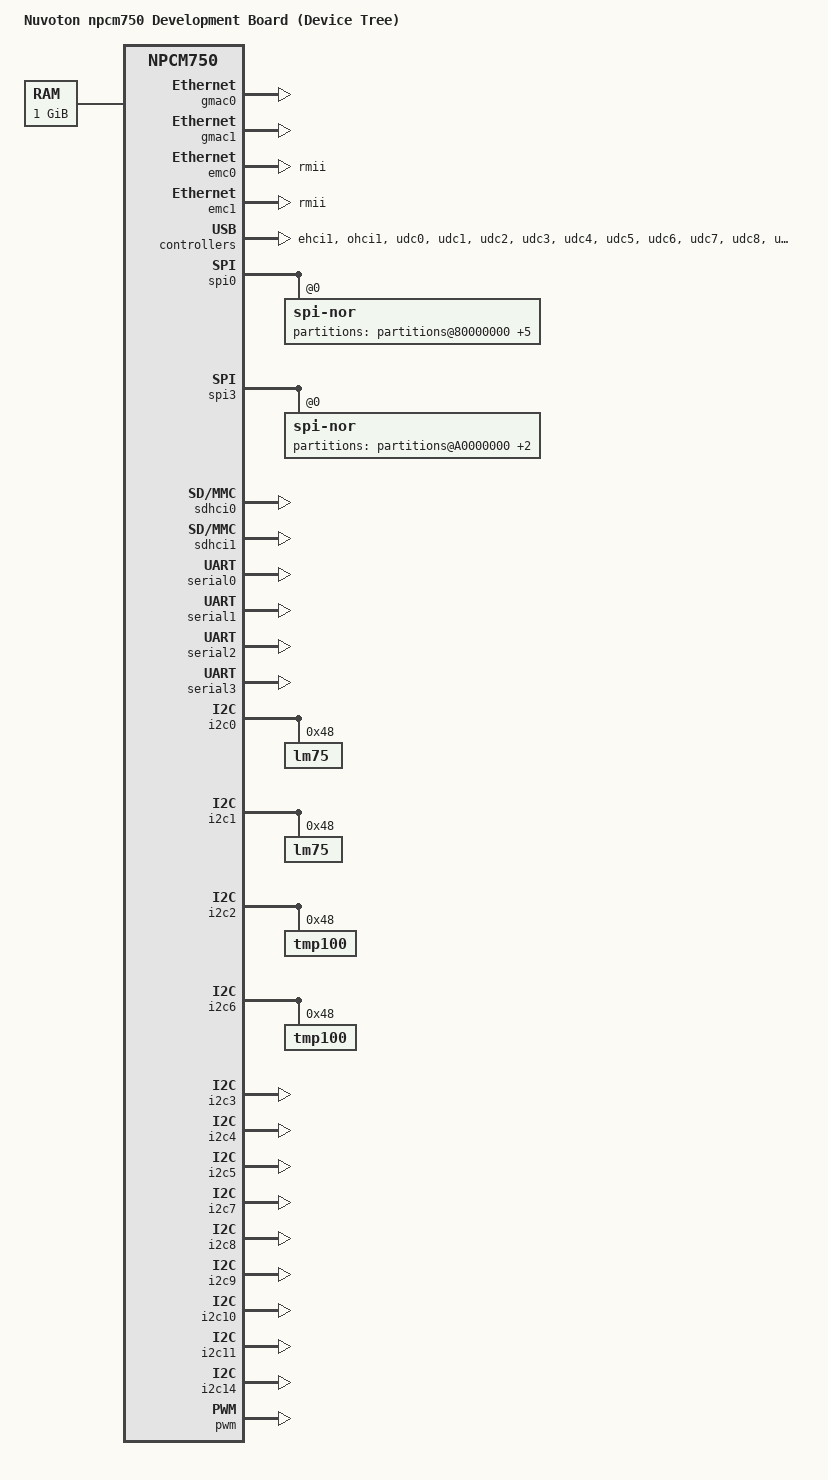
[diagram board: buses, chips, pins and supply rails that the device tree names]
/*
 * DTS file for all NPCM750 SoCs
 *
 * Copyright (c) 2014-2017 Nuvoton Technology corporation.
 *
 * Released under the GPLv2 only.
 * SPDX-License-Identifier: GPL-2.0
 *
 * http://www.opensource.org/licenses/gpl-license.html
 * http://www.gnu.org/copyleft/gpl.html
 */

/dts-v1/;
#include "nuvoton-npcm750.dtsi"
#include "nuvoton-npcm750-gpio.dtsi"

/ {
	model = "Nuvoton npcm750 Development Board (Device Tree)";
	compatible = "nuvoton,npcm750";

	aliases {
		ethernet0 = &emc0;
		ethernet1 = &emc1;
		ethernet2 = &gmac0;
		ethernet3 = &gmac1;
		serial0 = &serial0;
		serial1 = &serial1;
		serial2 = &serial2;
		serial3 = &serial3;
		udc0 = &udc0;
		udc1 = &udc1;
		udc2 = &udc2;
		udc3 = &udc3;
		udc4 = &udc4;
		udc5 = &udc5;
		udc6 = &udc6;
		udc7 = &udc7;
		udc8 = &udc8;
		udc9 = &udc9;
		emmc0 = &sdhci0;
		emmc1 = &sdhci1;
		i2c0 = &i2c0;
		i2c1 = &i2c1;
		i2c2 = &i2c2;
		i2c3 = &i2c3;
		i2c4 = &i2c4;
		i2c5 = &i2c5;
		i2c6 = &i2c6;
		i2c7 = &i2c7;
		i2c8 = &i2c8;
		i2c9 = &i2c9;
		i2c10 = &i2c10;
		i2c11 = &i2c11;
		i2c12 = &i2c12;
		i2c13 = &i2c13;
		i2c14 = &i2c14;
		i2c15 = &i2c15;
	};

	chosen {
		stdout-path = &serial3;
	};

	memory {
		reg = <0 0x40000000>;
	};

	ahb {
	        gmac0: eth@f0802000 {
			status = "okay";
		};

		gmac1: eth@f0804000 {
			status = "okay";
		};

		emc0: eth@f0825000 {
			phy-mode = "rmii";
			#use-ncsi; /* add this to support ncsi */
			status = "okay";
		};

		emc1: eth@f0826000 {
			phy-mode = "rmii";
			#use-ncsi; /* add this to support ncsi */
			status = "okay";
		};

		ehci1: ehci@f0806000 {
			status = "okay";
		};

		ohci1: ohci@f0807000 {
			status = "okay";
		};

		udc0:udc@f0830000 {
			status = "okay";
		};

		udc1:udc@f0831000 {
			status = "okay";
		};

		udc2:udc@f0832000 {
			status = "okay";
		};

		udc3:udc@f0833000 {
			status = "okay";
		};

		udc4:udc@f0834000 {
			status = "okay";
		};

		udc5:udc@f0835000 {
			status = "okay";
		};

		udc6:udc@f0836000 {
			status = "okay";
		};

		udc7:udc@f0837000 {
			status = "okay";
		};

		udc8:udc@f0838000 {
			status = "okay";
		};

		udc9:udc@f0839000 {
			status = "okay";
		};

		aes:aes@f0858000 {
			status = "okay";
		};

		sha:sha@f085a000 {
			status = "okay";
		};

		spi0: spi@fb000000 {
			spi-nor@0 {
				partitions@80000000 {
					compatible = "fixed-partitions";
					#address-cells = <1>;
					#size-cells = <1>;
					bbuboot1@0 {
						label = "bb-uboot-1";
						reg = <0x0000000 0x80000>;
						read-only;
						};
					bbuboot2@80000 {
						label = "bb-uboot-2";
						reg = <0x00080000 0x80000>;
						read-only;
						};
					kernel@200000 {
						label = "kernel";
						reg = <0x00200000 0x580000>;
						};
					rofs@780000 {
						label = "rofs";
						reg = <0x00780000 0x1600000>;
						};
					rwfs@1d80000 {
						label = "rwfs";
						reg = <0x01d80000 0x100000>;
					};
				};
			};
		};

		spi3: spi@c0000000 {
				spi-nor@0 {
				partitions@A0000000 {
					compatible = "fixed-partitions";
					#address-cells = <1>;
					#size-cells = <1>;
					system1@0 {
						label = "spi3-system1";
						reg = <0x0 0x800000>;
					};
					system2@800000 {
						label = "spi3-system2";
						reg = <0x800000 0x0>;
					};
				};
			};
		};

		sdhci0: sdhci@f0840000 {
			status = "okay";
		};

		sdhci1: sdhci@f0842000 {
			status = "okay";
		};

	};

	apb {

		watchdog1: watchdog@f0009000 {
			status = "okay";
		};

		rng: rng@f000b000 {
			status = "okay";
		};

		serial0: serial0@f0001000 {
			status = "okay";
		};

		serial1: serial1@f0002000 {
			status = "okay";
		};

		serial2: serial2@f0003000 {
			status = "okay";
		};

		serial3: serial3@f0004000 {
			status = "okay";
		};

		otp:otp@f0189000 {
			status = "okay";
		};

		lpc_kcs: lpc_kcs@f0007000 {
			kcs1: kcs1@0 {
				status = "okay";
			};

			kcs2: kcs2@0 {
				status = "okay";
			};

			kcs3: kcs3@0 {
				status = "okay";
			};
		};

		/* lm75 on SVB */
		i2c0: i2c-bus@f0080000 {
			#address-cells = <1>;
			#size-cells = <0>;
			status = "okay";

			lm75@48 {
				compatible = "lm75";
				reg = <0x48>;
				status = "okay";
			};
		};

		/* lm75 on EB */
		i2c1: i2c-bus@f0081000 {
			#address-cells = <1>;
			#size-cells = <0>;
			status = "okay";

			lm75@48 {
				compatible = "lm75";
				reg = <0x48>;
				status = "okay";
			};
		};

		/* tmp100 on EB */
		i2c2: i2c-bus@f0082000 {
			#address-cells = <1>;
			#size-cells = <0>;
			status = "okay";

			tmp100@48 {
				compatible = "tmp100";
				reg = <0x48>;
				status = "okay";
			};
		};

		/* tmp100 on SVB */
		i2c6: i2c-bus@f0086000 {
			#address-cells = <1>;
			#size-cells = <0>;
			status = "okay";

			tmp100@48 {
				compatible = "tmp100";
				reg = <0x48>;
				status = "okay";
			};
		};
		i2c3: i2c-bus@f0083000 {
			#address-cells = <1>;
			#size-cells = <0>;
			status = "okay";
		};

		i2c4: i2c-bus@f0084000 {
			#address-cells = <1>;
			#size-cells = <0>;
			status = "okay";
		};

		i2c5: i2c-bus@f0085000 {
			#address-cells = <1>;
			#size-cells = <0>;
			status = "okay";
		};

		i2c7: i2c-bus@f0087000 {
			#address-cells = <1>;
			#size-cells = <0>;
			status = "okay";
		};

		i2c8: i2c-bus@f0088000 {
			#address-cells = <1>;
			#size-cells = <0>;
			status = "okay";
		};

		i2c9: i2c-bus@f0089000 {
			#address-cells = <1>;
			#size-cells = <0>;
			status = "okay";
		};

		i2c10: i2c-bus@f008a000 {
			#address-cells = <1>;
			#size-cells = <0>;
			status = "okay";
		};

		i2c11: i2c-bus@f008b000 {
			#address-cells = <1>;
			#size-cells = <0>;
			status = "okay";
		};

		i2c14: i2c-bus@f008e000 {
			#address-cells = <1>;
			#size-cells = <0>;
			status = "okay";
		};

		i2c15: i2c-bus@f008f000 {
			#address-cells = <1>;
			#size-cells = <0>;
			status = "disabled";               /* SVB conflict with pspi2 cs gpio20o_pins */
		};

		fan: fan@0 {
			pinctrl-names = "default";
			pinctrl-0 = </*&fanin0_pins*/     /* SVB conflict with pspi1 enable gpio64o_pins */
					&fanin1_pins
					&fanin2_pins
					&fanin3_pins
					&fanin4_pins
					&fanin5_pins
					&fanin6_pins
					&fanin7_pins
					&fanin8_pins
					&fanin9_pins
					&fanin10_pins
					&fanin11_pins
					&fanin12_pins
					&fanin13_pins
					&fanin14_pins
					&fanin15_pins>;
			status = "okay";
		};

		pwm: pwm@f0103000 {
			pinctrl-names = "default";
			pinctrl-0 = <	&pwm0_pins
					&pwm1_pins
					&pwm2_pins
					&pwm3_pins
					&pwm4_pins
					&pwm5_pins
					&pwm6_pins
					&pwm7_pins>;
			status = "okay";
		};

/* Here is an example for future pspi binding */
/*
                pspi: pspi@0 {
			pinctrl-names = "default";
			pinctrl-0 = <&pspi1_pins &pspi2_pins &gpio20o_pins &gpio203o_pins> ;
			cs-gpios = <&gpio 20 1>, <&gpio 203 1>;
			status = "okay";
		};
*/

	};



	pinctrl: pinctrl@0 {
		pinctrl-names = "default";
		pinctrl-0 = <	&iox1_pins
				&gpio8_pins
				&gpio9o_pins
				&gpio10_pins
				&gpio11o_pins
				&gpio16_pins
				&gpio24o_pins
				&gpio25ol_pins
				&gpio32o_pins
				&jtag2_pins
				&gpio61o_pins
				&gpio62o_pins
				&gpio63o_pins
				&gpio64o_pins      /* SVB pspi1 enable */
				&gpio80_pins
				&gpio81_pins
				&gpio82_pins
				&gpio83_pins
				&lpc_pins
				&gpio132o_pins
				&gpio133_pins
				&gpio134_pins
				&gpio135_pins
				&gpio144_pins
				&gpio145_pins
				&gpio146_pins
				&gpio147_pins
				&gpio160_pins
				&gpio162_pins
				&gpio168_pins
				&gpio169_pins
				&gpio170_pins
				&gpio187o_pins
				&gpio190_pins
				&gpio191o_pins
				&gpio192o_pins
				&gpio197ol_pins
				&ddc_pins
				&gpio218_pins
				&gpio219ol_pins
				&gpio220ol_pins
				&gpio221o_pins
				&gpio222_pins
				&gpio223ol_pins
				&spix_pins
				&gpio228ol_pins
				&gpio231o_pins
				&gpio255_pins>;
	};
};
